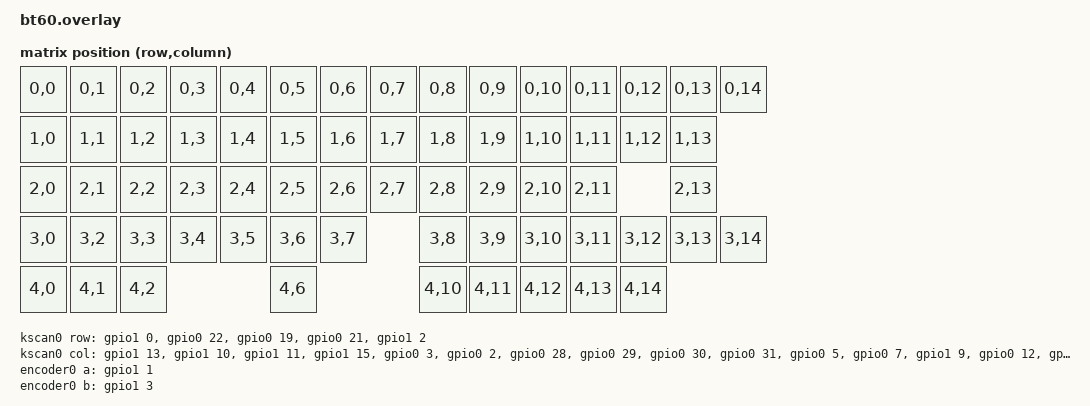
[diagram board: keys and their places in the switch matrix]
/* bt60.overlay - custom 5x15 matrix + custom matrix transform + optional encoder */

#include <dt-bindings/zmk/matrix_transform.h>

/ {
	chosen {
		/* Force ZMK to use OUR kscan + transform */
		zmk,kscan = &kscan0;
		zmk,matrix-transform = &bt60_transform;
		zmk,physical-layout = &physical_layout_0
	};

	/* --------- Matrix scanner (GPIO matrix) ---------
	 * Replace the pin controller node (&... ) and pin numbers with your actual hardware.
	 *
	 * Common controllers:
	 *   - nice_nano / pro_micro style headers often use &pro_micro
	 *   - nRF52840 SoC GPIO is often &gpio0 / &gpio1 (depends on the board DTS)
	 *
	 * If you aren't sure what node name to use, tell me what MCU/module this BT60 uses
	 * (nice!nano v2, nRF52840, etc.) and I'll tailor it.
	 */
	kscan0: kscan0 {
		compatible = "zmk,kscan-gpio-matrix";
        label = "KSCAN";
		/* Set this to match your PCB diode direction */
		diode-direction = "col2row";
		wakeup-source;

		col-gpios
			= <&gpio1 13 GPIO_ACTIVE_HIGH>
			, <&gpio1 10 GPIO_ACTIVE_HIGH>
			, <&gpio1 11 GPIO_ACTIVE_HIGH>
			, <&gpio1 15 GPIO_ACTIVE_HIGH>
			, <&gpio0 3 GPIO_ACTIVE_HIGH>
			, <&gpio0 2 GPIO_ACTIVE_HIGH>
			, <&gpio0 28 GPIO_ACTIVE_HIGH>
			, <&gpio0 29 GPIO_ACTIVE_HIGH>
			, <&gpio0 30 GPIO_ACTIVE_HIGH>
			, <&gpio0 31 GPIO_ACTIVE_HIGH>
			, <&gpio0 5 GPIO_ACTIVE_HIGH>
			, <&gpio0 7 GPIO_ACTIVE_HIGH>
			, <&gpio1 9 GPIO_ACTIVE_HIGH>
			, <&gpio0 12 GPIO_ACTIVE_HIGH>
      , <&gpio0 23 GPIO_ACTIVE_HIGH>
			;

		row-gpios
			= <&gpio1 0 (GPIO_ACTIVE_HIGH | GPIO_PULL_DOWN)>
			, <&gpio0 22 (GPIO_ACTIVE_HIGH | GPIO_PULL_DOWN)>
			, <&gpio0 19 (GPIO_ACTIVE_HIGH | GPIO_PULL_DOWN)>
			, <&gpio0 21 (GPIO_ACTIVE_HIGH | GPIO_PULL_DOWN)>
			, <&gpio1 2 (GPIO_ACTIVE_HIGH | GPIO_PULL_DOWN)>
			;
	};

	/* --------- Matrix transform ---------
	 * This maps keymap positions -> physical matrix RC(row,col).
	 * Your shape is intentionally non-rectangular (gaps).
	 */
	bt60_transform: bt60_transform {
		compatible = "zmk,matrix-transform";
		rows = <5>;
		columns = <15>;

		map = <
			RC(0,0)  RC(0,1)  RC(0,2)  RC(0,3)  RC(0,4)  RC(0,5)  RC(0,6)  RC(0,7)  RC(0,8)  RC(0,9)  RC(0,10) RC(0,11) RC(0,12) RC(0,13) RC(0,14)
			RC(1,0)  RC(1,1)  RC(1,2)  RC(1,3)  RC(1,4)  RC(1,5)  RC(1,6)  RC(1,7)  RC(1,8)  RC(1,9)  RC(1,10) RC(1,11) RC(1,12) RC(1,13)
			RC(2,0)  RC(2,1)  RC(2,2)  RC(2,3)  RC(2,4)  RC(2,5)  RC(2,6)  RC(2,7)  RC(2,8)  RC(2,9)  RC(2,10) RC(2,11)          RC(2,13)
			RC(3,0)            RC(3,2)  RC(3,3)  RC(3,4)  RC(3,5)  RC(3,6)  RC(3,7)  RC(3,8)  RC(3,9)  RC(3,10) RC(3,11) RC(3,12) RC(3,13) RC(3,14)
			RC(4,0)  RC(4,1)  RC(4,2)                      RC(4,6)                     RC(4,10) RC(4,11) RC(4,12) RC(4,13) RC(4,14)
		>;
	};

	/* --------- Optional: EC11 rotary encoder ---------
	 * Only needed if your board has an encoder and you want your sensor-bindings to work.
	 * Replace pin numbers and GPIO controller.
	 *
	 * If your encoder is not EC11 (or needs pull-ups / inverted), tell me and I'll adjust.
	 */
	encoder0: encoder0 {
		compatible = "zephyr,ec11";
		label = "ENCODER_0";

        a-gpios = <&gpio1 1 (GPIO_ACTIVE_HIGH | GPIO_PULL_UP)>;
        b-gpios = <&gpio1 3 (GPIO_ACTIVE_HIGH | GPIO_PULL_UP)>;

		/* optional: steps-per-period = <2>; */
		status = "okay";
	};
};

/* Many setups require enabling the encoder in the "sensors" chosen node.
 * If your build complains about sensors, uncomment this:
 *
 * / {
 *   chosen {
 *     zmk,sensors = &encoder0;
 *   };
 * };
 */
